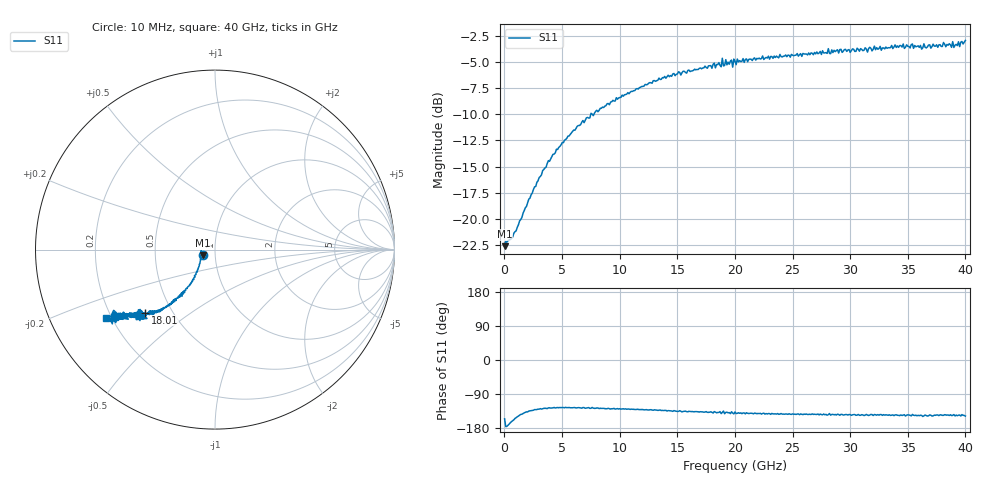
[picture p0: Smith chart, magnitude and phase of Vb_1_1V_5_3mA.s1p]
!Agilent Technologies,N5247A,US51170167,A.09.90.10
!Agilent N5247A: A.09.90.10
!Date: Tuesday, November 22, 2016 15:33:20
!Correction: S22(Full 1 Port(2))
!S1P File: Measurement: S22:
# Hz S  RI  R 50
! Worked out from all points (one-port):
!   401 points, 10 MHz to 40 GHz, reference 50 ohm
!   lowest |S11| = -22.6 dB at 10 MHz (marker M1), VSWR 1.16, Z = 43.6 - j2.7 ohm
!   |S11| at or under -10 dB: start of sweep to 7.485 GHz; 7.625 GHz to 7.761 GHz (135.4 MHz wide, 1.76 % of centre)
!   S11 on the Smith chart (normalised r, x): 10 MHz: 0.87, -0.05; 18.01 GHz: 0.35, -0.34; 40 GHz: 0.18, -0.28
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1e7  -0.0672 -0.0308
3.09925e8  -0.078 -0.0108
8.098e8  -0.079 -0.0321
3.2092e9  -0.1031 -0.1252
4.009e9  -0.1162 -0.1546
5.00875e9  -0.1336 -0.1891
7.308175e9  -0.1766 -0.2469
1.00075e10  -0.2376 -0.2975
1.28068e10  -0.2989 -0.3304
1.500625e10  -0.3523 -0.3453
1.80055e10  -0.3905 -0.3516
1.860535e10  -0.4182 -0.3711
1.910522e10  -0.4262 -0.3351
2.0005e10  -0.4162 -0.3877
2.12047e10  -0.4531 -0.3625
2.500375e10  -0.4803 -0.3707
3.00025e10  -0.5072 -0.3667
3.100225e10  -0.5253 -0.3775
3.190202e10  -0.5152 -0.3737
3.290178e10  -0.5329 -0.3852
3.44014e10  -0.5522 -0.3873
3.500125e10  -0.5464 -0.3864
3.52012e10  -0.5445 -0.3682
3.650088e10  -0.5441 -0.3786
3.80005e10  -0.5545 -0.3734
3.890028e10  -0.5847 -0.3935
3.970008e10  -0.5719 -0.4135
4e10  -0.6052 -0.379
